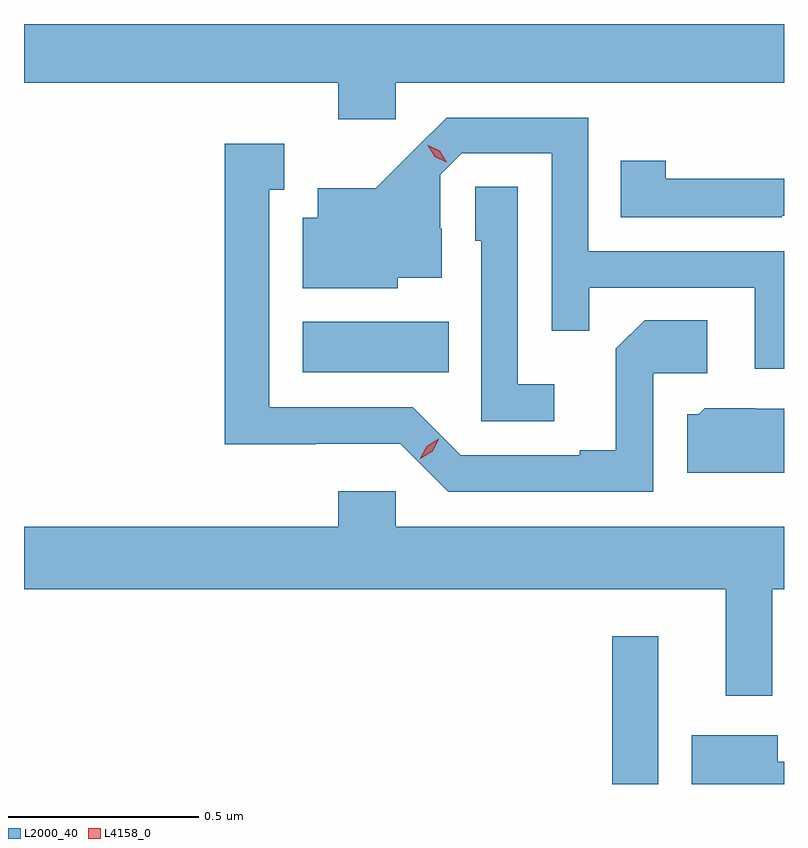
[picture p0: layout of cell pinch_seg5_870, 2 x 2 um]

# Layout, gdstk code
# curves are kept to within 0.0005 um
import gdstk
lib = gdstk.Library(unit=1e-6, precision=1e-09)
def R(c, l, rs):  # rectangles x0, y0, x1, y1
    for r in rs: c.add(gdstk.rectangle(r[:2], r[2:], *l))
def P(c, l, *ps):  # polygons
    for p in ps: c.add(gdstk.Polygon(p, *l))
L2000_40 = (2000, 40)
L4158_0 = (4158, 0)

pinch_seg5_870 = lib.new_cell('pinch_seg5_870')
R(pinch_seg5_870, L2000_40, [(795.75,888.215,795.871,888.604), (794.936,889.298,795.32,889.432)])
P(pinch_seg5_870, L2000_40, [(795.18,890.06),(796.202,890.06),(796.202,890.215),(794.202,890.215),(794.202,890.06),(795.029,890.06),(795.029,889.965),(795.18,889.965)],
  [(796.202,889.617),(795.687,889.617),(795.687,889.968),(795.314,889.968),(795.127,889.783),(794.975,889.783),(794.975,889.705),(794.936,889.705),(794.936,889.52),(795.186,889.52),(795.186,889.547),(795.301,889.547),(795.301,889.676),(795.297,889.676),(795.297,889.818),(795.354,889.875),(795.591,889.875),(795.591,889.408),(795.689,889.408),(795.689,889.521),(796.125,889.521),(796.125,889.308),(796.202,889.308)],
  [(795.858,889.296),(796,889.296),(796,889.436),(795.835,889.436),(795.759,889.36),(795.759,889.093),(795.665,889.093),(795.665,889.08),(795.351,889.08),(795.225,889.206),(794.848,889.206),(794.848,889.779),(794.887,889.779),(794.887,889.9),(794.73,889.9),(794.73,889.109),(794.97,889.109),(794.97,889.11),(795.192,889.11),(795.318,888.984),(795.858,888.984)],
  [(796.196,889.71),(796.202,889.71),(796.202,889.808),(795.891,889.808),(795.891,889.855),(795.772,889.855),(795.772,889.707),(796.196,889.707)],
  [(795.598,889.267),(795.501,889.267),(795.501,889.787),(795.39,889.787),(795.39,889.644),(795.405,889.644),(795.405,889.17),(795.598,889.17)],
  [(796.202,889.203),(796.128,889.203),(796.128,889.204),(795.994,889.204),(795.978,889.188),(795.947,889.188),(795.947,889.034),(796.202,889.034)],
  [(796.171,888.728),(796.202,888.728),(796.202,888.892),(795.18,888.892),(795.18,888.985),(795.029,888.985),(795.029,888.892),(794.202,888.892),(794.202,888.728),(796.049,888.728),(796.049,888.447),(796.171,888.447)],
  [(796.202,888.273),(796.186,888.273),(796.186,888.343),(795.959,888.343),(795.959,888.215),(796.202,888.215)])
P(pinch_seg5_870, L4158_0, [(795.313,889.851),(795.283,889.866),(795.265,889.896),(795.265,889.896),(795.266,889.896),(795.296,889.881),(795.314,889.851),(795.314,889.851)],
  [(795.245,889.071),(795.245,889.072),(795.262,889.104),(795.294,889.123),(795.294,889.123),(795.294,889.123),(795.277,889.091),(795.245,889.071)])

lib.write_gds('pinch_seg5_870.gds')
